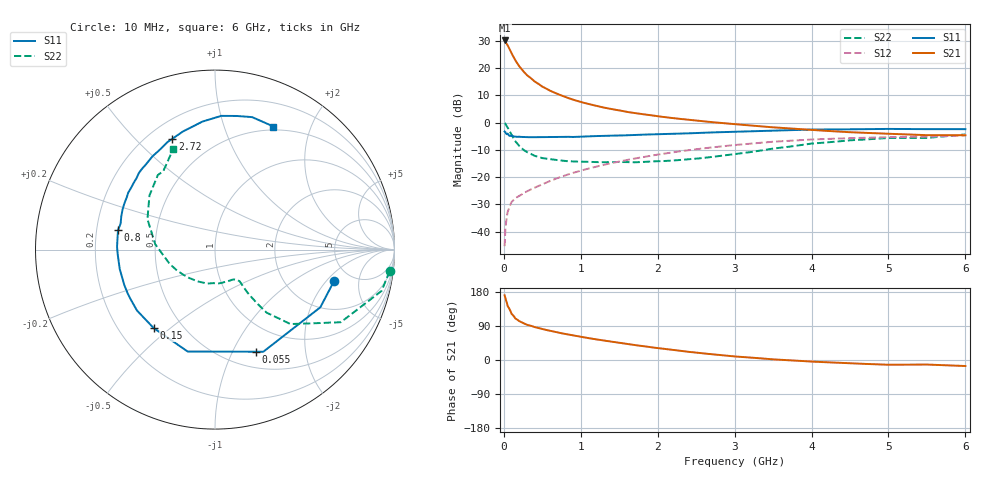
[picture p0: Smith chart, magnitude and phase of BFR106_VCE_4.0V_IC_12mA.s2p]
! Infineon Technologies  Discrete & RF Semiconductors
! BFR106
! VCE =  4.0 V,  IC =  12 mA
! Common Emitter S-Parameters:  Nov 2015
# GHz  S  MA  R  50
!  f  S11  S21  S12  S22
! GHz  MAG  ANG  MAG  ANG  MAG  ANG  MAG  ANG
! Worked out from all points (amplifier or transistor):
!   210 points, 10 MHz to 6 GHz, reference 50 ohm
!   highest |S21| = 30.2 dB at 10 MHz (marker M1)
!   |S21| within 3 dB of that: start of sweep to 70.4 MHz
!   unconditionally stable (mu >= 1): 456.6 MHz to 2.101 GHz; 5.293 GHz to end of sweep
!   at 185 MHz: K = 0.62, MSG = 24.3 dB, |S12| = -27.1 dB
!   at 1.52 GHz: K = 1.07, MAG = 7.7 dB, |S12| = -14.2 dB
!   at 6 GHz: K = 1.01, MAG = -0.5 dB, |S12| = -4.7 dB
!   S11 on the Smith chart (normalised r, x): 10 MHz: 3.69, -2.43; 55 MHz: 0.68, -1.23; 150 MHz: 0.35, -0.44; 800 MHz: 0.29, +0.09; 2.72 GHz: 0.29, +0.64; 6 GHz: 0.46, +1.48
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0.01  0.6863 -14.7  32.23 170.7  0.0054 84.1  0.98 -7.1
0.02  0.6692 -28.7  31.18 163.2  0.0111 74.8  0.9564 -13.9
0.05  0.6295 -64.7  26.21 142.4  0.0231 63.7  0.8092 -30.0
0.055  0.6126 -68.3  25.35 140.9  0.0242 62.0  0.7856 -31.1
0.1  0.5879 -105.0  18.68 122.0  0.0348 51.9  0.5908 -44.6
0.15  0.5549 -128.0  13.79 109.6  0.0409 47.9  0.4538 -50.7
0.2  0.5515 -142.0  10.86 102.6  0.0453 48.9  0.3741 -52.1
0.24  0.5454 -150.0  9.237 98.3  0.0487 49.8  0.3305 -52.6
0.26  0.5443 -153.3  8.561 96.3  0.0506 50.4  0.3135 -52.8
0.3  0.5426 -158.6  7.455 93.1  0.0548 51.9  0.2889 -52.9
0.4  0.5417 -168.6  5.7 86.9  0.0639 55.4  0.246 -52.4
0.5  0.5423 -175.9  4.59 81.5  0.074 58.0  0.2234 -52.2
0.6  0.546 178.3  3.862 76.8  0.0851 60.1  0.2133 -53.2
0.8  0.5511 168.6  2.943 68.6  0.1077 62.1  0.1973 -57.3
1.02  0.5551 159.8  2.352 60.6  0.1336 62.8  0.192 -63.6
1.4  0.5782 146.7  1.769 48.4  0.1806 61.4  0.1894 -78.3
2.02  0.6111 129.1  1.298 30.9  0.2615 55.5  0.1958 -109.5
2.72  0.6617 111.1  1.017 15.0  0.3527 46.1  0.2357 -148.6
3.1  0.6879 103.0  0.912 8.0  0.3991 40.1  0.2748 -167.9
4.1  0.7468 85.9  0.718 -5.1  0.4952 23.6  0.4223 152.4
5.1  0.7645 73.1  0.618 -12.4  0.5431 8.9  0.5232 126.7
6  0.7592 64.6  0.587 -15.9  0.5837 -1.7  0.6076 112.5
